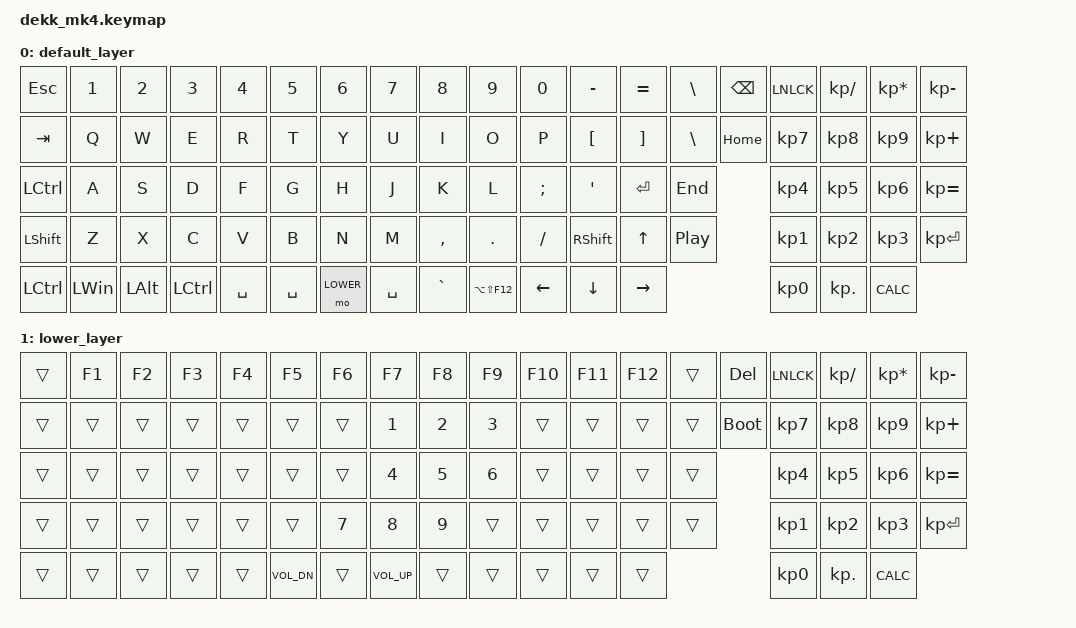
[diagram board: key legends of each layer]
#include <behaviors.dtsi>
#include <dt-bindings/zmk/keys.h>

#define DEFAULT 0
#define LOWER   1


/ {  
    keymap {
        compatible = "zmk,keymap";
        

        default_layer {
            bindings = <
                &kp ESC     &kp N1        &kp N2    &kp N3     &kp N4     &kp N5     &kp N6     &kp N7     &kp N8     &kp N9           &kp N0    &kp MINUS   &kp EQUAL  &kp BSLH          &kp BSPC   &kp LNLCK    &kp KP_SLASH    &kp KP_MULTIPLY  &kp KP_MINUS
                &kp TAB     &kp Q         &kp W     &kp E      &kp R      &kp T      &kp Y      &kp U      &kp I      &kp O            &kp P     &kp LBKT    &kp RBKT   &kp BSLH          &kp HOME   &kp KP_N7    &kp KP_N8       &kp KP_N9        &kp KP_PLUS
                &kp LCTRL   &kp A         &kp S     &kp D      &kp F      &kp G      &kp H      &kp J      &kp K      &kp L            &kp SEMI  &kp APOS    &kp ENTER  &kp END                      &kp KP_N4    &kp KP_N5       &kp KP_N6        &kp KP_EQUAL
                &kp LSHIFT  &kp Z         &kp X     &kp C      &kp V      &kp B      &kp N      &kp M      &kp COMMA  &kp DOT          &kp FSLH  &kp RSHIFT  &kp UP     &kp C_PLAY_PAUSE             &kp KP_N1    &kp KP_N2       &kp KP_N3        &kp KP_ENTER
                &kp LCTRL   &kp LEFT_WIN  &kp LALT  &kp LCTRL  &kp SPACE  &kp SPACE  &mo LOWER  &kp SPACE  &kp GRAVE  &kp LA(LS(F12))  &kp LEFT  &kp DOWN    &kp RIGHT                               &kp KP_N0    &kp KP_DOT      &kp K_CALC
            >;
        };

        lower_layer {
            bindings = <
                &trans  &kp F1        &kp F2        &kp F3        &kp F4  &kp F5        &kp F6  &kp F7        &kp F8        &kp F9        &kp F10  &kp F11  &kp F12  &trans  &kp DEL                 &kp LNLCK    &kp KP_SLASH    &kp KP_MULTIPLY  &kp KP_MINUS
                &trans  &trans        &trans        &trans        &trans  &trans        &trans  &kp NUMBER_1  &kp NUMBER_2  &kp NUMBER_3  &trans   &trans   &trans   &trans  &bootloader             &kp KP_N7    &kp KP_N8       &kp KP_N9        &kp KP_PLUS
                &trans  &trans        &trans        &trans        &trans  &trans        &trans  &kp NUMBER_4  &kp N5        &kp NUMBER_6  &trans   &trans   &trans   &trans                          &kp KP_N4    &kp KP_N5       &kp KP_N6        &kp KP_EQUAL
                &trans  &trans        &trans        &trans        &trans  &trans        &kp N7  &kp N8        &kp N9        &trans        &trans   &trans   &trans   &trans                          &kp KP_N1    &kp KP_N2       &kp KP_N3        &kp KP_ENTER
                &trans  &trans        &trans        &trans        &trans  &kp C_VOL_DN  &trans  &kp C_VOL_UP  &trans        &trans        &trans   &trans   &trans                                   &kp KP_N0    &kp KP_DOT      &kp K_CALC
            >;
        };
    };
};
